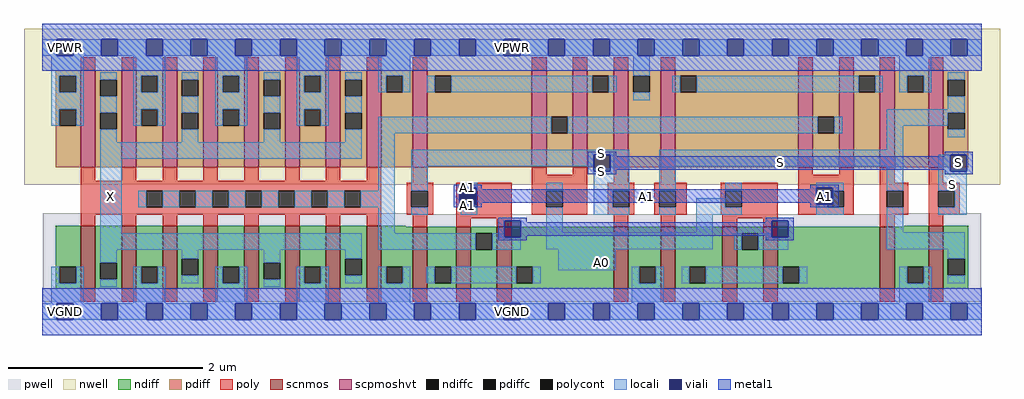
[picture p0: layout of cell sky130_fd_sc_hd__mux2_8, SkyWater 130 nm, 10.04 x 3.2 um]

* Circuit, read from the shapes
.subckt sky130_fd_sc_hd__mux2_8 A0 A1 S VGND VNB VPB VPWR X
XM1 X n1 VGND VNB sky130_fd_pr__nfet_01v8 w=0.65 l=0.15 m=8
XM2 n2 S VGND VNB sky130_fd_pr__nfet_01v8 w=0.64 l=0.15 m=2
XM3 n1 A1 n2 VNB sky130_fd_pr__nfet_01v8 w=0.64 l=0.15 m=2
XM4 n3 n4 VGND VNB sky130_fd_pr__nfet_01v8 w=0.64 l=0.15 m=2
XM5 n1 A0 n3 VNB sky130_fd_pr__nfet_01v8 w=0.64 l=0.15 m=2
XM6 n4 S VGND VNB sky130_fd_pr__nfet_01v8 w=0.65 l=0.15
XM7 X n1 VPWR VPB sky130_fd_pr__pfet_01v8_hvt w=1 l=0.15 m=8
XM8 n5 S VPWR VPB sky130_fd_pr__pfet_01v8_hvt w=1 l=0.15 m=2
XM9 n1 A0 n5 VPB sky130_fd_pr__pfet_01v8_hvt w=1 l=0.15 m=2
XM10 n6 n4 VPWR VPB sky130_fd_pr__pfet_01v8_hvt w=1 l=0.15 m=2
XM11 n1 A1 n6 VPB sky130_fd_pr__pfet_01v8_hvt w=1 l=0.15 m=2
XM12 n4 S VPWR VPB sky130_fd_pr__pfet_01v8_hvt w=1 l=0.15
.ends

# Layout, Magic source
magic
tech sky130B
magscale 1 2
<< nwell >>
rect -38 261 1970 582
<< pwell >>
rect 1 201 773 203
rect 1747 201 1931 203
rect 1 21 1931 201
rect 30 -17 64 21
<< scnmos >>
rect 79 47 109 177
rect 163 47 193 177
rect 247 47 277 177
rect 331 47 361 177
rect 415 47 445 177
rect 499 47 529 177
rect 583 47 613 177
rect 667 47 697 177
rect 762 47 792 175
rect 851 47 881 175
rect 935 47 965 175
rect 1175 47 1205 175
rect 1272 47 1302 175
rect 1399 47 1429 175
rect 1483 47 1513 175
rect 1723 47 1753 175
rect 1823 47 1853 177
<< scpmoshvt >>
rect 79 297 109 497
rect 163 297 193 497
rect 247 297 277 497
rect 331 297 361 497
rect 415 297 445 497
rect 499 297 529 497
rect 583 297 613 497
rect 667 297 697 497
rect 762 297 792 497
rect 1007 297 1037 497
rect 1091 297 1121 497
rect 1175 297 1205 497
rect 1272 297 1302 497
rect 1555 297 1585 497
rect 1639 297 1669 497
rect 1723 297 1753 497
rect 1823 297 1853 497
<< ndiff >>
rect 27 93 79 177
rect 27 59 35 93
rect 69 59 79 93
rect 27 47 79 59
rect 109 101 163 177
rect 109 67 119 101
rect 153 67 163 101
rect 109 47 163 67
rect 193 93 247 177
rect 193 59 203 93
rect 237 59 247 93
rect 193 47 247 59
rect 277 109 331 177
rect 277 75 287 109
rect 321 75 331 109
rect 277 47 331 75
rect 361 93 415 177
rect 361 59 371 93
rect 405 59 415 93
rect 361 47 415 59
rect 445 101 499 177
rect 445 67 455 101
rect 489 67 499 101
rect 445 47 499 67
rect 529 93 583 177
rect 529 59 539 93
rect 573 59 583 93
rect 529 47 583 59
rect 613 109 667 177
rect 613 75 623 109
rect 657 75 667 109
rect 613 47 667 75
rect 697 175 747 177
rect 1773 175 1823 177
rect 697 93 762 175
rect 697 59 707 93
rect 741 59 762 93
rect 697 47 762 59
rect 792 93 851 175
rect 792 59 807 93
rect 841 59 851 93
rect 792 47 851 59
rect 881 161 935 175
rect 881 127 891 161
rect 925 127 935 161
rect 881 47 935 127
rect 965 93 1175 175
rect 965 59 975 93
rect 1009 59 1175 93
rect 965 47 1175 59
rect 1205 93 1272 175
rect 1205 59 1228 93
rect 1262 59 1272 93
rect 1205 47 1272 59
rect 1302 93 1399 175
rect 1302 59 1331 93
rect 1365 59 1399 93
rect 1302 47 1399 59
rect 1429 161 1483 175
rect 1429 127 1439 161
rect 1473 127 1483 161
rect 1429 47 1483 127
rect 1513 93 1723 175
rect 1513 59 1523 93
rect 1557 59 1723 93
rect 1513 47 1723 59
rect 1753 93 1823 175
rect 1753 59 1779 93
rect 1813 59 1823 93
rect 1753 47 1823 59
rect 1853 109 1905 177
rect 1853 75 1863 109
rect 1897 75 1905 109
rect 1853 47 1905 75
<< pdiff >>
rect 27 485 79 497
rect 27 451 35 485
rect 69 451 79 485
rect 27 417 79 451
rect 27 383 35 417
rect 69 383 79 417
rect 27 297 79 383
rect 109 477 163 497
rect 109 443 119 477
rect 153 443 163 477
rect 109 409 163 443
rect 109 375 119 409
rect 153 375 163 409
rect 109 297 163 375
rect 193 485 247 497
rect 193 451 203 485
rect 237 451 247 485
rect 193 417 247 451
rect 193 383 203 417
rect 237 383 247 417
rect 193 297 247 383
rect 277 477 331 497
rect 277 443 287 477
rect 321 443 331 477
rect 277 409 331 443
rect 277 375 287 409
rect 321 375 331 409
rect 277 297 331 375
rect 361 485 415 497
rect 361 451 371 485
rect 405 451 415 485
rect 361 417 415 451
rect 361 383 371 417
rect 405 383 415 417
rect 361 297 415 383
rect 445 477 499 497
rect 445 443 455 477
rect 489 443 499 477
rect 445 409 499 443
rect 445 375 455 409
rect 489 375 499 409
rect 445 297 499 375
rect 529 485 583 497
rect 529 451 539 485
rect 573 451 583 485
rect 529 417 583 451
rect 529 383 539 417
rect 573 383 583 417
rect 529 297 583 383
rect 613 477 667 497
rect 613 443 623 477
rect 657 443 667 477
rect 613 409 667 443
rect 613 375 623 409
rect 657 375 667 409
rect 613 297 667 375
rect 697 485 762 497
rect 697 451 707 485
rect 741 451 762 485
rect 697 297 762 451
rect 792 485 1007 497
rect 792 451 807 485
rect 841 451 1007 485
rect 792 297 1007 451
rect 1037 401 1091 497
rect 1037 367 1047 401
rect 1081 367 1091 401
rect 1037 297 1091 367
rect 1121 485 1175 497
rect 1121 451 1131 485
rect 1165 451 1175 485
rect 1121 297 1175 451
rect 1205 485 1272 497
rect 1205 451 1215 485
rect 1249 451 1272 485
rect 1205 297 1272 451
rect 1302 485 1555 497
rect 1302 451 1312 485
rect 1346 451 1555 485
rect 1302 297 1555 451
rect 1585 401 1639 497
rect 1585 367 1595 401
rect 1629 367 1639 401
rect 1585 297 1639 367
rect 1669 485 1723 497
rect 1669 451 1679 485
rect 1713 451 1723 485
rect 1669 297 1723 451
rect 1753 485 1823 497
rect 1753 451 1779 485
rect 1813 451 1823 485
rect 1753 297 1823 451
rect 1853 477 1905 497
rect 1853 443 1863 477
rect 1897 443 1905 477
rect 1853 409 1905 443
rect 1853 375 1863 409
rect 1897 375 1905 409
rect 1853 297 1905 375
<< ndiffc >>
rect 35 59 69 93
rect 119 67 153 101
rect 203 59 237 93
rect 287 75 321 109
rect 371 59 405 93
rect 455 67 489 101
rect 539 59 573 93
rect 623 75 657 109
rect 707 59 741 93
rect 807 59 841 93
rect 891 127 925 161
rect 975 59 1009 93
rect 1228 59 1262 93
rect 1331 59 1365 93
rect 1439 127 1473 161
rect 1523 59 1557 93
rect 1779 59 1813 93
rect 1863 75 1897 109
<< pdiffc >>
rect 35 451 69 485
rect 35 383 69 417
rect 119 443 153 477
rect 119 375 153 409
rect 203 451 237 485
rect 203 383 237 417
rect 287 443 321 477
rect 287 375 321 409
rect 371 451 405 485
rect 371 383 405 417
rect 455 443 489 477
rect 455 375 489 409
rect 539 451 573 485
rect 539 383 573 417
rect 623 443 657 477
rect 623 375 657 409
rect 707 451 741 485
rect 807 451 841 485
rect 1047 367 1081 401
rect 1131 451 1165 485
rect 1215 451 1249 485
rect 1312 451 1346 485
rect 1595 367 1629 401
rect 1679 451 1713 485
rect 1779 451 1813 485
rect 1863 443 1897 477
rect 1863 375 1897 409
<< poly >>
rect 79 497 109 523
rect 163 497 193 523
rect 247 497 277 523
rect 331 497 361 523
rect 415 497 445 523
rect 499 497 529 523
rect 583 497 613 523
rect 667 497 697 523
rect 762 497 792 523
rect 1007 497 1037 523
rect 1091 497 1121 523
rect 1175 497 1205 523
rect 1272 497 1302 523
rect 1555 497 1585 523
rect 1639 497 1669 523
rect 1723 497 1753 523
rect 1823 497 1853 523
rect 79 269 109 297
rect 163 269 193 297
rect 247 269 277 297
rect 331 269 361 297
rect 415 269 445 297
rect 499 269 529 297
rect 583 269 613 297
rect 667 269 697 297
rect 79 249 697 269
rect 762 265 792 297
rect 1007 282 1037 297
rect 1091 282 1121 297
rect 79 215 213 249
rect 247 215 281 249
rect 315 215 349 249
rect 383 215 417 249
rect 451 215 485 249
rect 519 215 553 249
rect 587 215 621 249
rect 655 215 697 249
rect 79 199 697 215
rect 749 249 804 265
rect 749 215 759 249
rect 793 215 804 249
rect 749 199 804 215
rect 851 249 965 265
rect 851 215 861 249
rect 895 215 965 249
rect 79 177 109 199
rect 163 177 193 199
rect 247 177 277 199
rect 331 177 361 199
rect 415 177 445 199
rect 499 177 529 199
rect 583 177 613 199
rect 667 177 697 199
rect 762 175 792 199
rect 851 192 965 215
rect 1007 249 1121 282
rect 1175 265 1205 297
rect 1272 265 1302 297
rect 1555 282 1585 297
rect 1639 282 1669 297
rect 1007 215 1036 249
rect 1070 215 1121 249
rect 1007 199 1121 215
rect 1163 249 1217 265
rect 1163 215 1173 249
rect 1207 215 1217 249
rect 1163 199 1217 215
rect 1259 249 1326 265
rect 1259 215 1269 249
rect 1303 215 1326 249
rect 1259 199 1326 215
rect 1395 249 1513 265
rect 1395 215 1405 249
rect 1439 215 1513 249
rect 1395 199 1513 215
rect 1555 249 1669 282
rect 1555 215 1615 249
rect 1649 215 1669 249
rect 1555 199 1669 215
rect 1723 265 1753 297
rect 1823 265 1853 297
rect 1723 249 1781 265
rect 1723 215 1737 249
rect 1771 215 1781 249
rect 1723 199 1781 215
rect 1823 249 1887 265
rect 1823 215 1843 249
rect 1877 215 1887 249
rect 1823 199 1887 215
rect 851 175 881 192
rect 935 175 965 192
rect 1175 175 1205 199
rect 1272 175 1302 199
rect 1399 192 1513 199
rect 1399 175 1429 192
rect 1483 175 1513 192
rect 1723 175 1753 199
rect 1823 177 1853 199
rect 79 21 109 47
rect 163 21 193 47
rect 247 21 277 47
rect 331 21 361 47
rect 415 21 445 47
rect 499 21 529 47
rect 583 21 613 47
rect 667 21 697 47
rect 762 21 792 47
rect 851 21 881 47
rect 935 21 965 47
rect 1175 21 1205 47
rect 1272 21 1302 47
rect 1399 21 1429 47
rect 1483 21 1513 47
rect 1723 21 1753 47
rect 1823 21 1853 47
<< polycont >>
rect 213 215 247 249
rect 281 215 315 249
rect 349 215 383 249
rect 417 215 451 249
rect 485 215 519 249
rect 553 215 587 249
rect 621 215 655 249
rect 759 215 793 249
rect 861 215 895 249
rect 1036 215 1070 249
rect 1173 215 1207 249
rect 1269 215 1303 249
rect 1405 215 1439 249
rect 1615 215 1649 249
rect 1737 215 1771 249
rect 1843 215 1877 249
<< locali >>
rect 0 527 29 561
rect 63 527 121 561
rect 155 527 213 561
rect 247 527 305 561
rect 339 527 397 561
rect 431 527 489 561
rect 523 527 581 561
rect 615 527 673 561
rect 707 527 765 561
rect 799 527 857 561
rect 891 527 949 561
rect 983 527 1041 561
rect 1075 527 1133 561
rect 1167 527 1225 561
rect 1259 527 1317 561
rect 1351 527 1409 561
rect 1443 527 1501 561
rect 1535 527 1593 561
rect 1627 527 1685 561
rect 1719 527 1777 561
rect 1811 527 1869 561
rect 1903 527 1932 561
rect 18 485 85 527
rect 18 451 35 485
rect 69 451 85 485
rect 18 417 85 451
rect 18 383 35 417
rect 69 383 85 417
rect 119 477 153 493
rect 119 409 153 443
rect 187 485 253 527
rect 187 451 203 485
rect 237 451 253 485
rect 187 417 253 451
rect 187 383 203 417
rect 237 383 253 417
rect 287 477 321 493
rect 287 409 321 443
rect 119 349 153 375
rect 355 485 421 527
rect 355 451 371 485
rect 405 451 421 485
rect 355 417 421 451
rect 355 383 371 417
rect 405 383 421 417
rect 455 477 489 493
rect 455 409 489 443
rect 287 349 321 375
rect 523 485 589 527
rect 523 451 539 485
rect 573 451 589 485
rect 523 417 589 451
rect 523 383 539 417
rect 573 383 589 417
rect 623 477 657 493
rect 691 485 757 527
rect 1215 485 1249 527
rect 1763 485 1829 527
rect 691 451 707 485
rect 741 451 757 485
rect 791 451 807 485
rect 841 451 1131 485
rect 1165 451 1181 485
rect 1296 451 1312 485
rect 1346 451 1679 485
rect 1713 451 1729 485
rect 1763 451 1779 485
rect 1813 451 1829 485
rect 1863 477 1897 493
rect 623 409 657 443
rect 1215 435 1249 451
rect 1863 417 1897 443
rect 455 349 489 375
rect 1737 409 1897 417
rect 623 349 657 375
rect 119 315 657 349
rect 691 367 1047 401
rect 1081 367 1595 401
rect 1629 367 1645 401
rect 1737 383 1863 409
rect 119 161 163 315
rect 691 249 725 367
rect 1737 333 1771 383
rect 1863 359 1897 375
rect 197 215 213 249
rect 247 215 281 249
rect 315 215 349 249
rect 383 215 417 249
rect 451 215 485 249
rect 519 215 553 249
rect 587 215 621 249
rect 655 215 725 249
rect 691 161 725 215
rect 759 323 1207 333
rect 759 299 1134 323
rect 759 249 793 299
rect 1168 289 1207 323
rect 861 255 895 265
rect 892 249 895 255
rect 759 199 793 215
rect 861 199 895 215
rect 1036 249 1070 265
rect 119 127 657 161
rect 691 127 891 161
rect 925 153 950 161
rect 925 127 984 153
rect 1036 163 1070 215
rect 1134 249 1207 289
rect 1134 215 1173 249
rect 1134 199 1207 215
rect 1269 299 1771 333
rect 1269 249 1303 299
rect 1405 249 1439 265
rect 1269 199 1303 215
rect 1345 215 1405 233
rect 1345 199 1439 215
rect 1592 255 1649 265
rect 1626 249 1649 255
rect 1592 215 1615 221
rect 1592 199 1649 215
rect 1737 249 1771 299
rect 1345 163 1379 199
rect 1036 129 1379 163
rect 119 101 153 127
rect 18 59 35 93
rect 69 59 85 93
rect 18 17 85 59
rect 287 109 321 127
rect 119 51 153 67
rect 187 59 203 93
rect 237 59 253 93
rect 455 101 489 127
rect 287 59 321 75
rect 355 59 371 93
rect 405 59 421 93
rect 187 17 253 59
rect 355 17 421 59
rect 623 109 657 127
rect 455 51 489 67
rect 523 59 539 93
rect 573 59 589 93
rect 623 59 657 75
rect 691 59 707 93
rect 741 59 757 93
rect 791 59 807 93
rect 841 59 975 93
rect 1009 59 1025 93
rect 1061 85 1178 129
rect 1423 127 1439 161
rect 1473 153 1500 161
rect 1473 127 1534 153
rect 1737 163 1771 215
rect 1843 289 1868 323
rect 1843 249 1902 289
rect 1877 215 1902 249
rect 1843 199 1902 215
rect 1737 129 1897 163
rect 1863 109 1897 129
rect 1212 59 1228 93
rect 1262 59 1278 93
rect 1315 59 1331 93
rect 1365 59 1523 93
rect 1557 59 1573 93
rect 1763 59 1779 93
rect 1813 59 1829 93
rect 1863 59 1897 75
rect 523 17 589 59
rect 691 17 757 59
rect 1212 17 1278 59
rect 1763 17 1829 59
rect 0 -17 29 17
rect 63 -17 121 17
rect 155 -17 213 17
rect 247 -17 305 17
rect 339 -17 397 17
rect 431 -17 489 17
rect 523 -17 581 17
rect 615 -17 673 17
rect 707 -17 765 17
rect 799 -17 857 17
rect 891 -17 949 17
rect 983 -17 1041 17
rect 1075 -17 1133 17
rect 1167 -17 1225 17
rect 1259 -17 1317 17
rect 1351 -17 1409 17
rect 1443 -17 1501 17
rect 1535 -17 1593 17
rect 1627 -17 1685 17
rect 1719 -17 1777 17
rect 1811 -17 1869 17
rect 1903 -17 1932 17
<< viali >>
rect 29 527 63 561
rect 121 527 155 561
rect 213 527 247 561
rect 305 527 339 561
rect 397 527 431 561
rect 489 527 523 561
rect 581 527 615 561
rect 673 527 707 561
rect 765 527 799 561
rect 857 527 891 561
rect 949 527 983 561
rect 1041 527 1075 561
rect 1133 527 1167 561
rect 1225 527 1259 561
rect 1317 527 1351 561
rect 1409 527 1443 561
rect 1501 527 1535 561
rect 1593 527 1627 561
rect 1685 527 1719 561
rect 1777 527 1811 561
rect 1869 527 1903 561
rect 1134 289 1168 323
rect 858 249 892 255
rect 858 221 861 249
rect 861 221 892 249
rect 950 153 984 187
rect 1592 249 1626 255
rect 1592 221 1615 249
rect 1615 221 1626 249
rect 1500 153 1534 187
rect 1868 289 1902 323
rect 29 -17 63 17
rect 121 -17 155 17
rect 213 -17 247 17
rect 305 -17 339 17
rect 397 -17 431 17
rect 489 -17 523 17
rect 581 -17 615 17
rect 673 -17 707 17
rect 765 -17 799 17
rect 857 -17 891 17
rect 949 -17 983 17
rect 1041 -17 1075 17
rect 1133 -17 1167 17
rect 1225 -17 1259 17
rect 1317 -17 1351 17
rect 1409 -17 1443 17
rect 1501 -17 1535 17
rect 1593 -17 1627 17
rect 1685 -17 1719 17
rect 1777 -17 1811 17
rect 1869 -17 1903 17
<< metal1 >>
rect 0 561 1932 592
rect 0 527 29 561
rect 63 527 121 561
rect 155 527 213 561
rect 247 527 305 561
rect 339 527 397 561
rect 431 527 489 561
rect 523 527 581 561
rect 615 527 673 561
rect 707 527 765 561
rect 799 527 857 561
rect 891 527 949 561
rect 983 527 1041 561
rect 1075 527 1133 561
rect 1167 527 1225 561
rect 1259 527 1317 561
rect 1351 527 1409 561
rect 1443 527 1501 561
rect 1535 527 1593 561
rect 1627 527 1685 561
rect 1719 527 1777 561
rect 1811 527 1869 561
rect 1903 527 1932 561
rect 0 496 1932 527
rect 1122 323 1180 329
rect 1122 289 1134 323
rect 1168 320 1180 323
rect 1856 323 1914 329
rect 1856 320 1868 323
rect 1168 292 1868 320
rect 1168 289 1180 292
rect 1122 283 1180 289
rect 1856 289 1868 292
rect 1902 289 1914 323
rect 1856 283 1914 289
rect 846 255 904 261
rect 846 221 858 255
rect 892 252 904 255
rect 1580 255 1638 261
rect 1580 252 1592 255
rect 892 224 1592 252
rect 892 221 904 224
rect 846 215 904 221
rect 1580 221 1592 224
rect 1626 221 1638 255
rect 1580 215 1638 221
rect 938 187 996 193
rect 938 153 950 187
rect 984 184 996 187
rect 1488 187 1546 193
rect 1488 184 1500 187
rect 984 156 1500 184
rect 984 153 996 156
rect 938 147 996 153
rect 1488 153 1500 156
rect 1534 153 1546 187
rect 1488 147 1546 153
rect 0 17 1932 48
rect 0 -17 29 17
rect 63 -17 121 17
rect 155 -17 213 17
rect 247 -17 305 17
rect 339 -17 397 17
rect 431 -17 489 17
rect 523 -17 581 17
rect 615 -17 673 17
rect 707 -17 765 17
rect 799 -17 857 17
rect 891 -17 949 17
rect 983 -17 1041 17
rect 1075 -17 1133 17
rect 1167 -17 1225 17
rect 1259 -17 1317 17
rect 1351 -17 1409 17
rect 1443 -17 1501 17
rect 1535 -17 1593 17
rect 1627 -17 1685 17
rect 1719 -17 1777 17
rect 1811 -17 1869 17
rect 1903 -17 1932 17
rect 0 -48 1932 -17
<< labels >>
flabel metal1 s 1868 289 1902 323 0 FreeSans 200 0 0 0 S
port 3 nsew signal input
flabel metal1 s 1592 221 1626 255 0 FreeSans 200 0 0 0 A1
port 2 nsew signal input
flabel metal1 s 30 527 64 561 0 FreeSans 200 0 0 0 VPWR
port 7 nsew power bidirectional abutment
flabel metal1 s 30 -17 64 17 0 FreeSans 200 0 0 0 VGND
port 4 nsew ground bidirectional abutment
flabel nwell s 30 527 64 561 0 FreeSans 200 0 0 0 VPB
port 6 nsew power bidirectional
flabel pwell s 30 -17 64 17 0 FreeSans 200 0 0 0 VNB
port 5 nsew ground bidirectional
flabel locali s 1134 85 1168 119 0 FreeSans 200 0 0 0 A0
port 1 nsew signal input
flabel locali s 122 221 156 255 0 FreeSans 200 0 0 0 X
port 8 nsew signal output
rlabel comment s 0 0 0 0 4 mux2_8
rlabel locali s 1592 199 1649 265 1 A1
port 2 nsew signal input
rlabel metal1 s 1580 252 1638 261 1 A1
port 2 nsew signal input
rlabel metal1 s 1580 215 1638 224 1 A1
port 2 nsew signal input
rlabel metal1 s 846 252 904 261 1 A1
port 2 nsew signal input
rlabel metal1 s 846 224 1638 252 1 A1
port 2 nsew signal input
rlabel metal1 s 846 215 904 224 1 A1
port 2 nsew signal input
rlabel locali s 1843 199 1902 323 1 S
port 3 nsew signal input
rlabel metal1 s 1856 320 1914 329 1 S
port 3 nsew signal input
rlabel metal1 s 1856 283 1914 292 1 S
port 3 nsew signal input
rlabel metal1 s 1122 320 1180 329 1 S
port 3 nsew signal input
rlabel metal1 s 1122 292 1914 320 1 S
port 3 nsew signal input
rlabel metal1 s 1122 283 1180 292 1 S
port 3 nsew signal input
rlabel metal1 s 0 -48 1932 48 1 VGND
port 4 nsew ground bidirectional abutment
rlabel metal1 s 0 496 1932 592 1 VPWR
port 7 nsew power bidirectional abutment
<< properties >>
string FIXED_BBOX 0 0 1932 544
string GDS_END 1698516
string GDS_FILE $PDKPATH/libs.ref/sky130_fd_sc_hd/gds/sky130_fd_sc_hd.gds
string GDS_START 1685856
string LEFclass CORE
string LEFsite unithd
string LEFsymmetry X Y R90
string path 0.000 13.600 48.300 13.600 
<< end >>
